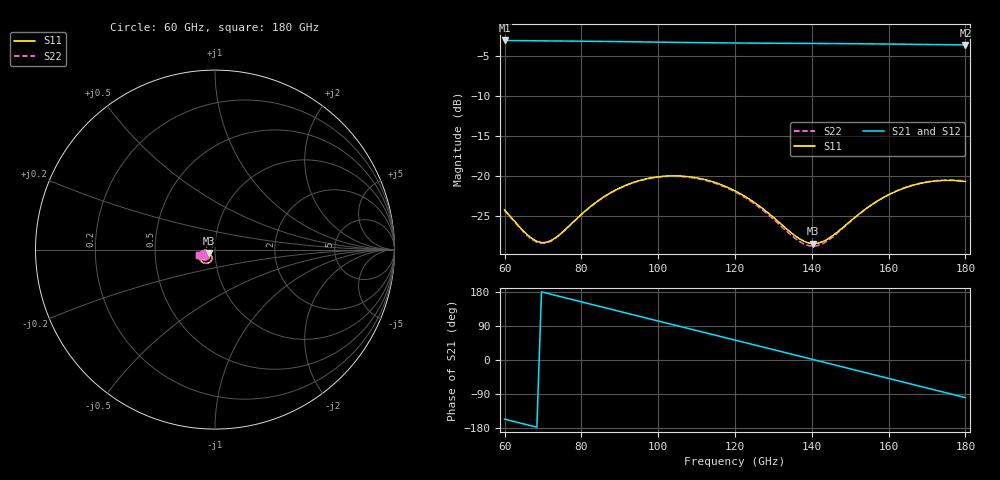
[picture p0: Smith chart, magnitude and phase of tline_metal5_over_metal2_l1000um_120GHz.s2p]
#  GHZ S DB R 50
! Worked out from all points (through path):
!   101 points, 60 GHz to 180 GHz, reference 50 ohm
!   highest |S21| = -3.07 dB at 60 GHz (marker M1); lowest = -3.6 dB at 180 GHz (marker M2)
!   group delay of S21, straight-line fit = 7.02 ps
!   lowest |S11| = -28.4 dB at 140.4 GHz (marker M3), VSWR 1.08, Z = 46.8 - j1.69 ohm
!   |S11| at or under -10 dB: start of sweep to end of sweep
!   |S22| runs from -28.8 to -20.0 dB; largest |S21 - S12| = 1.2e-13
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60  -24.24 -156.2  -3.07 -156.2  -3.07 -156.2  -24.32 -156.3
66  -27.37 -147.1  -3.10 -171.2  -3.10 -171.2  -27.47 -147.1
69.6  -28.31 -133.0  -3.12 179.8  -3.12 179.8  -28.41 -132.8
73.2  -27.73 -118.6  -3.13 170.7  -3.13 170.7  -27.81 -118.2
80.4  -24.61 -108.1  -3.16 152.5  -3.16 152.5  -24.65 -107.8
85.2  -22.80 -110.9  -3.19 140.3  -3.19 140.3  -22.84 -110.7
91.2  -21.23 -119.0  -3.22 125.2  -3.22 125.2  -21.27 -118.9
100.8  -20.05 -135.9  -3.28 100.9  -3.28 100.9  -20.10 -135.9
105.6  -19.99 -144.8  -3.31 88.8  -3.31 88.8  -20.05 -144.9
110.4  -20.26 -153.4  -3.34 76.7  -3.34 76.7  -20.34 -153.6
120  -21.85 -168.5  -3.39 52.6  -3.39 52.6  -21.96 -168.8
126  -23.63 -174.3  -3.41 37.5  -3.41 37.5  -23.80 -174.6
130.8  -25.49 -174.4  -3.42 25.4  -3.42 25.4  -25.73 -174.6
136.8  -27.84 -164.0  -3.43 10.2  -3.43 10.2  -28.18 -163.4
140.4  -28.44 -151.5  -3.44 1.1  -3.44 1.1  -28.76 -150.0
144  -27.91 -138.9  -3.45 -8.0  -3.45 -8.0  -28.12 -136.8
150  -25.65 -128.1  -3.47 -23.2  -3.47 -23.2  -25.71 -126.2
154.8  -23.85 -128.0  -3.49 -35.4  -3.49 -35.4  -23.85 -126.3
160.8  -22.16 -133.2  -3.52 -50.6  -3.52 -50.6  -22.13 -131.8
170.4  -20.73 -146.9  -3.57 -74.9  -3.57 -74.9  -20.69 -145.8
175.2  -20.55 -154.6  -3.60 -87.0  -3.60 -87.0  -20.50 -153.5
180  -20.69 -162.2  -3.62 -99.1  -3.62 -99.1  -20.64 -161.2
